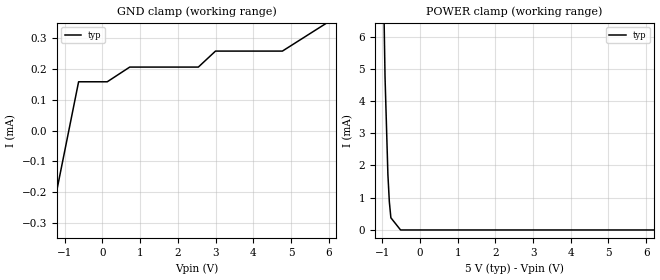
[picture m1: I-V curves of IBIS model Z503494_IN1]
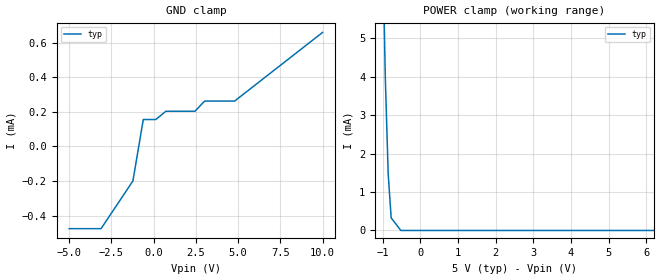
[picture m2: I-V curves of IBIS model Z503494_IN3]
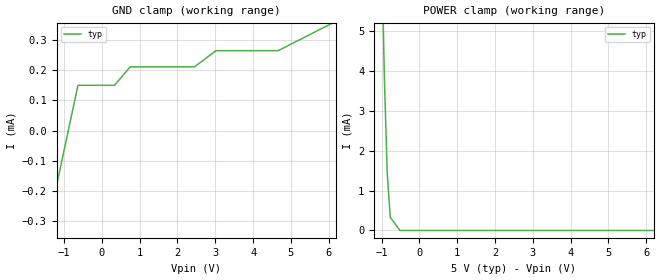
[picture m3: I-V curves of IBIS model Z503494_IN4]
| YOU ARE ONLY AUTHORIZED TO USE THIS SOFTWARE
| ACCORDING TO LICENSOR'S LICENSE RESTRICTIONS.
[IBIS Ver] 3.1
[File Name] mc14021bcl.ibs
[File Rev] 2.0
[Source] Measured and created by ICX Technology
[Date] Friday 7/14/00 9:07:51 AM
[Copyright]
| (C) COPYRIGHT 1993-2000
| MENTOR GRAPHICS CORPORATION
| ICX STANDARD LIBRARY, ICX PROJECT MODELING,
| ICX CUSTOM MODELING, ICX VENDOR MODEL
| ALL RIGHTS RESERVED.
| THE FOLLOWING ARE TRADEMARKS OR SERVICE MARKS OF
| MENTOR GRAPHICS CORPORATION:ICX (R), ICX STANDARD
| LIBRARY(R), ICX PROJECT MODELING(R), ICX CUSTOM
| MODELING(R), qualityIBIS(TM), MODELVIEWER(TM),
| AND MODELEDITOR(TM)
| ALL COPIES OF SOFTWARE, INCLUDING BUT NOT LIMITED TO
| ANY MODIFICATIONS, ENHANCEMENTS OR DERIVATIVE WORKS,
| MUST CONTAIN ALL MENTOR GRAPHICS CORPORATION'S
| NOTICES AND LEGENDS, INCLUDING THOSE EMBEDDED IN
| SOFTWARE AND THOSE AFFIXED TO SOFTWARE MEDIUM
| AND CONTAINER, AS RECEIVED FROM MENTOR GRAPHICS
| CORPORATION.
|  ZAP Model Builder 2.7
[Component] MC14021BCL
[Manufacturer] OnSemiconductor
[Package]
| variable   typ   min   max
R_pkg  .212ohms NA NA
L_pkg  4.758nH NA NA
C_pkg  1.944pF NA NA
[Pin] signal_name  model_name  R_pin  L_pin C_pin
1 P8 Z503494_IN1 .224 7.258n 2.683p
2 Q6 Z503494_OUT2 .216 5.258n 2.19p
3 Q8 Z503494_OUT2 .208 3.758n 1.697p
4 P4 Z503494_IN1 .2 2.758n 1.204p
5 P3 Z503494_IN1 .2 2.758n 1.204p
6 P2 Z503494_IN1 .208 3.758n 1.697p
7 P1 Z503494_IN1 .216 5.258n 2.19p
8 VSS POWER .224 7.258n 2.683p
9 P/S Z503494_IN3 .224 7.258n 2.683p
10 C Z503494_IN4 .216 5.258n 2.19p
11 DS Z503494_IN5 .208 3.758n 1.697p
12 Q7 Z503494_OUT2 .2 2.758n 1.204p
13 P5 Z503494_IN1 .2 2.758n 1.204p
14 P6 Z503494_IN1 .208 3.758n 1.697p
15 P7 Z503494_IN1 .216 5.258n 2.19p
16 VDD POWER .224 7.258n 2.683p
| Models and submodels in the file (5): Z503494_IN1 (Input), Z503494_IN3 (Input), Z503494_IN4 (Input), Z503494_IN5 (Input), Z503494_OUT2 (Output)
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| (C) COPYRIGHT 1993-2000
| MENTOR GRAPHICS CORPORATION
| ICX STANDARD LIBRARY, ICX PROJECT MODELING,
| ICX CUSTOM MODELING, ICX VENDOR MODEL
| ALL RIGHTS RESERVED.
| THE FOLLOWING ARE TRADEMARKS OR SERVICE MARKS OF
| MENTOR GRAPHICS CORPORATION:ICX (R), ICX STANDARD
| LIBRARY(R), ICX PROJECT MODELING(R), ICX CUSTOM
| MODELING(R), qualityIBIS(TM), MODELVIEWER(TM),
| AND MODELEDITOR(TM)
| ALL COPIES OF SOFTWARE, INCLUDING BUT NOT LIMITED TO
| ANY MODIFICATIONS, ENHANCEMENTS OR DERIVATIVE WORKS,
| MUST CONTAIN ALL MENTOR GRAPHICS CORPORATION'S
| NOTICES AND LEGENDS, INCLUDING THOSE EMBEDDED IN
| SOFTWARE AND THOSE AFFIXED TO SOFTWARE MEDIUM
| AND CONTAINER, AS RECEIVED FROM MENTOR GRAPHICS
| CORPORATION.
| Model Application Version 1.89 2/18/99.
[Model] Z503494_IN1
Model_type Input
Vinl = 1.500V
Vinh = 3.500V
C_comp 4.000pF NA NA
| variable typ   min   max
[Voltage Range] 5.000V NA NA
[GND Clamp Reference] 0.000V NA NA
[POWER Clamp Reference] 5.000V NA NA
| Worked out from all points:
|   POWER clamp passes 1 mA (typ) near -0.82 V on its own axis
[GND Clamp]
-5V       -4.283mA   NA         NA
-1.265V   -227.7uA   NA         NA
-632.5mV  158.2uA    NA         NA
127.2mV   158.2uA    NA         NA
723.3mV   205.9uA    NA         NA
2.543V    205.9uA    NA         NA
2.998V    257.8uA    NA         NA
4.772V    257.8uA    NA         NA
10V       663.4uA    NA         NA
[POWER Clamp]
-5V       680.8mA    NA         NA
-1.25V    40.02mA    NA         NA
-1.074V   17.09mA    NA         NA
-1.002V   10.14mA    NA         NA
-926mV    4.745mA    NA         NA
-850mV    1.722mA    NA         NA
-812mV    877.5uA    NA         NA
-771mV    378.4uA    NA         NA
-514mV    0A         NA         NA
10V       0A         NA         NA
| (C) COPYRIGHT 1993-2000
| MENTOR GRAPHICS CORPORATION
| ICX STANDARD LIBRARY, ICX PROJECT MODELING,
| ICX CUSTOM MODELING, ICX VENDOR MODEL
| ALL RIGHTS RESERVED.
| THE FOLLOWING ARE TRADEMARKS OR SERVICE MARKS OF
| MENTOR GRAPHICS CORPORATION:ICX (R), ICX STANDARD
| LIBRARY(R), ICX PROJECT MODELING(R), ICX CUSTOM
| MODELING(R), qualityIBIS(TM), MODELVIEWER(TM),
| AND MODELEDITOR(TM)
| ALL COPIES OF SOFTWARE, INCLUDING BUT NOT LIMITED TO
| ANY MODIFICATIONS, ENHANCEMENTS OR DERIVATIVE WORKS,
| MUST CONTAIN ALL MENTOR GRAPHICS CORPORATION'S
| NOTICES AND LEGENDS, INCLUDING THOSE EMBEDDED IN
| SOFTWARE AND THOSE AFFIXED TO SOFTWARE MEDIUM
| AND CONTAINER, AS RECEIVED FROM MENTOR GRAPHICS
| CORPORATION.
| Model Application Version 1.89 2/18/99.
[Model] Z503494_IN3
Model_type Input
Vinl = 1.500V
Vinh = 3.500V
C_comp 4.000pF NA NA
| variable typ   min   max
[Voltage Range] 5.000V NA NA
[GND Clamp Reference] 0.000V NA NA
[POWER Clamp Reference] 5.000V NA NA
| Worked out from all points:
|   POWER clamp passes 1 mA (typ) near -0.82 V on its own axis
[GND Clamp]
-5V       -475.4uA   NA         NA
-3.114V   -475.4uA   NA         NA
-1.229V   -199.5uA   NA         NA
-614.5mV  156.1uA    NA         NA
127.2mV   156.1uA    NA         NA
723.3mV   204uA      NA         NA
2.444V    204uA      NA         NA
3.018V    262.9uA    NA         NA
4.791V    262.9uA    NA         NA
10V       660.2uA    NA         NA
[POWER Clamp]
-5V       423.3mA    NA         NA
-1.244V   26.7mA     NA         NA
-1.079V   12.91mA    NA         NA
-1.006V   7.989mA    NA         NA
-927mV    4.004mA    NA         NA
-850mV    1.484mA    NA         NA
-771mV    328.5uA    NA         NA
-514mV    0A         NA         NA
10V       0A         NA         NA
| (C) COPYRIGHT 1993-2000
| MENTOR GRAPHICS CORPORATION
| ICX STANDARD LIBRARY, ICX PROJECT MODELING,
| ICX CUSTOM MODELING, ICX VENDOR MODEL
| ALL RIGHTS RESERVED.
| THE FOLLOWING ARE TRADEMARKS OR SERVICE MARKS OF
| MENTOR GRAPHICS CORPORATION:ICX (R), ICX STANDARD
| LIBRARY(R), ICX PROJECT MODELING(R), ICX CUSTOM
| MODELING(R), qualityIBIS(TM), MODELVIEWER(TM),
| AND MODELEDITOR(TM)
| ALL COPIES OF SOFTWARE, INCLUDING BUT NOT LIMITED TO
| ANY MODIFICATIONS, ENHANCEMENTS OR DERIVATIVE WORKS,
| MUST CONTAIN ALL MENTOR GRAPHICS CORPORATION'S
| NOTICES AND LEGENDS, INCLUDING THOSE EMBEDDED IN
| SOFTWARE AND THOSE AFFIXED TO SOFTWARE MEDIUM
| AND CONTAINER, AS RECEIVED FROM MENTOR GRAPHICS
| CORPORATION.
| Model Application Version 1.89 2/18/99.
[Model] Z503494_IN4
Model_type Input
Vinl = 1.000V
Vinh = 3.500V
C_comp 4.000pF NA NA
| variable typ   min   max
[Voltage Range] 5.000V NA NA
[GND Clamp Reference] 0.000V NA NA
[POWER Clamp Reference] 5.000V NA NA
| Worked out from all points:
|   POWER clamp passes 1 mA (typ) near -0.82 V on its own axis
[GND Clamp]
-5V       -3.669mA   NA         NA
-1.265V   -220.1uA   NA         NA
-632.5mV  149.3uA    NA         NA
336mV     149.3uA    NA         NA
748.2mV   210.2uA    NA         NA
2.451V    210.2uA    NA         NA
3.018V    263.6uA    NA         NA
4.666V    263.6uA    NA         NA
10V       603.5uA    NA         NA
[POWER Clamp]
-5V       420.4mA    NA         NA
-1.299V   30.37mA    NA         NA
-1.098V   13.53mA    NA         NA
-1.006V   7.54mA     NA         NA
-927mV    3.861mA    NA         NA
-850mV    1.425mA    NA         NA
-771mV    328uA      NA         NA
-514mV    0A         NA         NA
10V       0A         NA         NA
